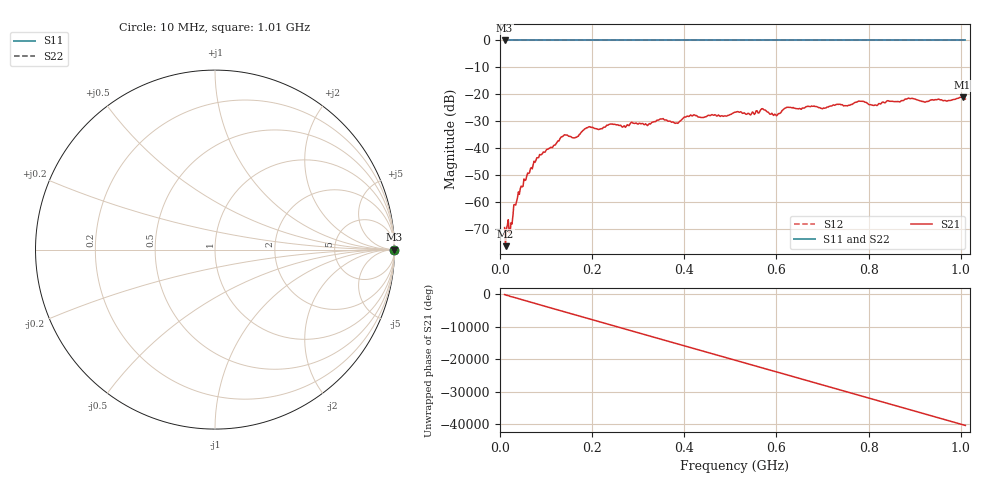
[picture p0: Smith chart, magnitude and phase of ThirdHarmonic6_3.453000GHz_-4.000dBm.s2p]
! 8/17/2025 11:09:33 AM
! C:\ANRITSUVNA\TEMP\TEMP.S2P
! CHANNEL.1
! TR.MEASUREMENT
! RAW.DATA
! RF.CORRECTION.OFF
! AVERAGING.OFF
! IF.BANDWIDTH: 5KHZ
! SWEEPTYPE:  FREQ.SWEEP(Linear)
! Reference Plane Port Info
! PORT:  PORT1  PORT2
! DISTANCE:  0  m  0  m
! TIME:  0  s  0  s
! PHASE.OFFSET:  0  deg.  0  deg.
! LOSS:  0  dB  0  dB
! REF.LOSS:  0  dB  0  dB
! REF.FREQ:  0  Hz  0  Hz
! Power Info
! POWER:  -20  dBm  -20  dBm
! EFF.POWER:  -20  dBm  -20  dBm
! SOURCE.ATTEN:  0  dB  0  dB
! TEST.ATTEN:  0  dB  0  dB
# GHZ S RI R 50.0
! FREQ.GHZ  S11RE  S11IM  S21RE  S21IM  S12RE  S12IM  S22RE  S22IM
!; PortSelection: Port_12
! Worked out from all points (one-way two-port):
!   501 points, 10 MHz to 1.01 GHz, reference 50 ohm
!   highest |S21| = -21.07 dB at 1.004 GHz (marker M1); lowest = -76.4 dB at 12 MHz (marker M2)
!   lowest |S11| = 0.0 dB at 10 MHz (marker M3)
!   |S11| at or under -10 dB: nowhere
!   |S22| runs from 0.0 to 0.0 dB; largest |S21 - S12| = 1.1
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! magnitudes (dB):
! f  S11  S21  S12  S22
! 10 MHz  0.0  -69.5  0.0  0.0
! 12 MHz  0.0  -76.4  0.0  0.0
! 24 MHz  0.0  -67.7  0.0  0.0
! 32 MHz  0.0  -60.9  0.0  0.0
! 42 MHz  0.0  -57.1  0.0  0.0
! 78 MHz  0.0  -44.5  0.0  0.0
! 136 MHz  0.0  -35.7  0.0  0.0
! 162 MHz  0.0  -36.2  0.0  0.0
! 178 MHz  0.0  -33.8  0.0  0.0
! 192 MHz  0.0  -32.1  0.0  0.0
! 322 MHz  0.0  -31.3  0.0  0.0
! 344 MHz  0.0  -29.6  0.0  0.0
! 382 MHz  0.0  -30.7  0.0  0.0
! 410 MHz  0.0  -28.2  0.0  0.0
! 510 MHz  0.0  -26.7  0.0  0.0
! 570 MHz  0.0  -25.3  0.0  0.0
! 598 MHz  0.0  -27.5  0.0  0.0
! 622 MHz  0.0  -24.8  0.0  0.0
! 678 MHz  0.0  -24.5  0.0  0.0
! 844 MHz  0.0  -22.5  0.0  0.0
! 1.004 GHz  0.0  -21.1  0.0  0.0
! 1.01 GHz  0.0  -21.7  0.0  0.0
